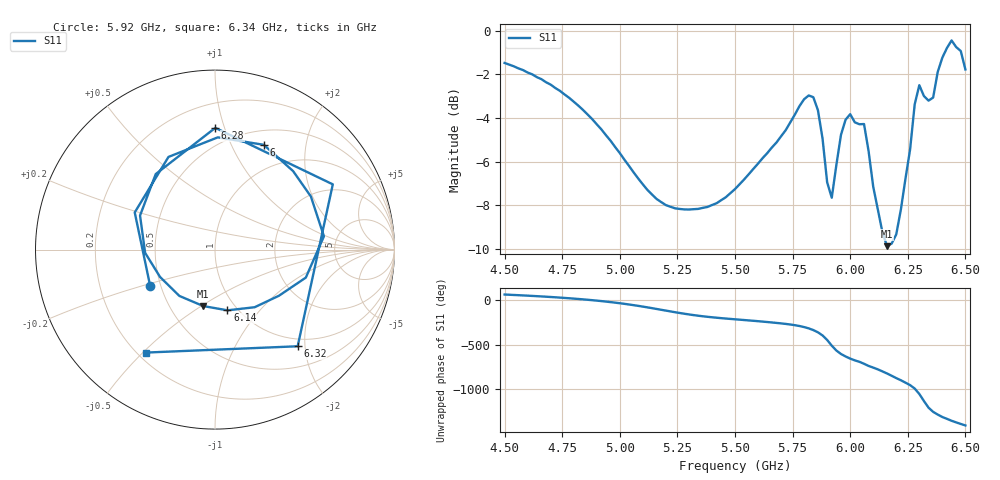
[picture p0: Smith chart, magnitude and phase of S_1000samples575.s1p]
! TOUCHSTONE file generated by CST MICROWAVE STUDIO
! Date and time: Fri Oct 28 15:55:44 2022
! Project name: L.cst
! Parameters = {Di=1.27; Epsilon_r=1.56; InnerDiameter=1.27; Length=2; Lf=10; Lg=60; OuterConductorThickness=0.2921; OuterDiameter=3.6; Wf=3; Wp=41.2; de=1.5; df=6.8; g=0.8; gx=2.69104; gy=1.5688; h=2.34; hf=1.524; px=12.4232; py=13.6564; w=9.7; wx=9.7322; wy=12.0876}
! Header version: 2018
! Port assignment regex: !\s*Touchstone port\s*([0-9]+)\s*=\s*(CST MWS port|CST DS port)\s*([0-9]+|Zmin|Zmax)\s*\(\"(.*)\"\)(\s*mode\s*([0-9]+))?.*
! Touchstone port assignment:
! Touchstone port 1 = CST MWS port 1 ("")
# GHz S DB R 50
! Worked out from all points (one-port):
!   101 points, 4.5 GHz to 6.5 GHz, reference 50 ohm
!   lowest |S11| = -9.9 dB at 6.16 GHz (marker M1), VSWR 1.95, Z = 36.4 - j25.5 ohm
!   |S11| at or under -10 dB: nowhere
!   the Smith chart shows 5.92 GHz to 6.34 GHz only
!   S11 on the Smith chart (normalised r, x): 5.92 GHz: 0.44, -0.22; 6 GHz: 0.67, +1.34; 6.14 GHz: 0.90, -0.69; 6.28 GHz: 0.37, +0.93; 6.32 GHz: 0.86, -1.85; 6.34 GHz: 0.23, -0.51
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4.5  -1.48 61.5
4.76  -2.92 23.7
5  -5.60 -35.7
5.12  -7.29 -82.0
5.26  -8.16 -144.8
5.5  -7.25 144.5
5.76  -3.84 78.6
5.82  -2.97 43.0
5.86  -3.64 -1.1
5.9  -6.94 -86.6
5.92  -7.65 -150.5
5.94  -6.15 155.1
5.96  -4.76 116.6
6  -3.82 65.0
6.06  -4.27 6.9
6.08  -5.52 -17.2
6.14  -9.24 -78.4
6.16  -9.86 -101.7
6.22  -8.19 -177.3
6.26  -5.44 128.1
6.28  -3.37 89.9
6.3  -2.50 29.0
6.32  -2.99 -49.5
6.34  -3.20 -123.9
6.38  -1.89 158.5
6.42  -0.79 110.8
6.46  -0.75 71.1
6.5  -1.78 36.9
